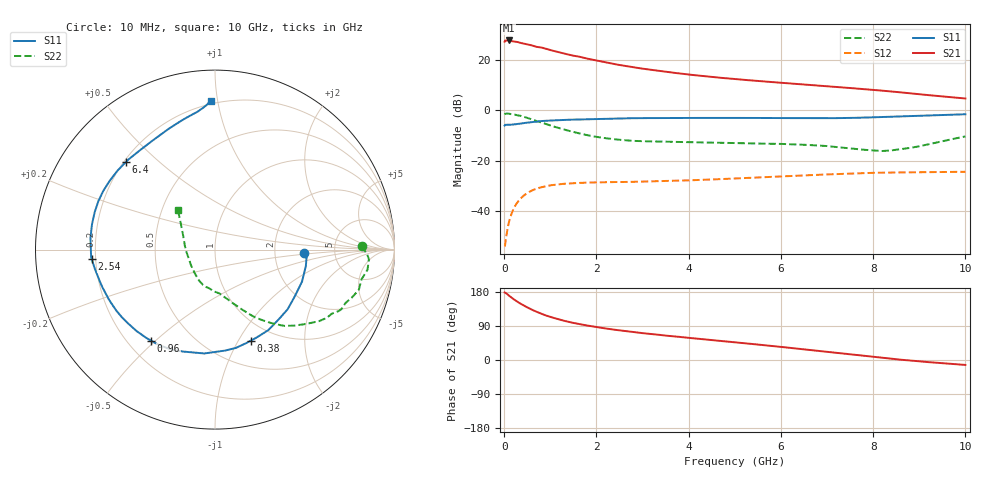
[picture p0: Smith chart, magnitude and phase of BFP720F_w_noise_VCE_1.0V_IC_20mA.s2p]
! Infineon Technologies  Discrete & RF Semiconductors
! BFP720F
! VCE =  1.0 V,  IC =  20 mA
! Common Emitter S-Parameters:  Jan 2016
# GHz  S  MA  R  50
!  f  S11  S21  S12  S22
! GHz  MAG  ANG  MAG  ANG  MAG  ANG  MAG  ANG
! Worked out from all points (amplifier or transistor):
!   233 points, 10 MHz to 10 GHz, reference 50 ohm
!   highest |S21| = 27.7 dB at 100 MHz (marker M1)
!   |S21| within 3 dB of that: start of sweep to 849.5 MHz
!   unconditionally stable (mu >= 1): start of sweep to 79.76 MHz; 3.457 GHz to end of sweep
!   at 200 MHz: K = 0.48, MSG = 33.3 dB, |S12| = -39.3 dB
!   at 1.74 GHz: K = 0.63, MSG = 24.8 dB, |S12| = -28.8 dB
!   at 10 GHz: K = 1.58, MAG = 10.1 dB, |S12| = -24.5 dB
!   lowest NFmin = 0.86 dB at 450 MHz
!   S11 on the Smith chart (normalised r, x): 10 MHz: 2.96, -0.16; 380 MHz: 0.78, -1.13; 960 MHz: 0.29, -0.48; 2.54 GHz: 0.18, -0.04; 6.4 GHz: 0.21, +0.39; 10 GHz: 0.18, +0.96
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0.01  0.4962 -2.4  22.9 178.2  0.002 14.3  0.8168 1.3
0.02  0.5118 -3.5  24.01 177.8  0.0021 37.2  0.8467 -1.6
0.05  0.5143 -10.1  24.2 175.7  0.0033 55.5  0.8591 -3.5
0.1  0.5166 -20.1  24.21 170.4  0.0058 65.0  0.8572 -7.5
0.2  0.5237 -39.3  23.28 160.9  0.0108 66.2  0.8322 -15.5
0.3  0.5378 -56.3  22.43 152.6  0.0153 61.8  0.7861 -22.2
0.38  0.5452 -68.6  21.41 147.0  0.0185 58.0  0.7562 -27.5
0.45  0.56 -78.0  20.85 141.8  0.021 54.8  0.7297 -31.4
0.6  0.5818 -95.9  19.33 132.7  0.0254 48.0  0.653 -39.4
0.7  0.5925 -105.8  18.1 127.3  0.0277 44.2  0.6111 -43.9
0.8  0.6075 -112.9  17.63 122.4  0.0295 41.0  0.5747 -47.7
0.96  0.6196 -125.0  16.04 115.4  0.0317 36.3  0.5122 -52.8
1.3  0.6413 -144.1  13.31 103.5  0.0346 29.2  0.4127 -61.5
1.68  0.6562 -157.9  11.22 93.7  0.0361 24.3  0.3364 -68.8
2  0.6686 -166.4  9.687 86.9  0.0369 21.7  0.2955 -74.1
2.54  0.6892 -175.7  7.782 77.6  0.0376 19.4  0.2569 -81.5
3.4  0.6985 169.5  5.953 65.9  0.0391 18.9  0.2378 -88.6
5.1  0.7022 151.2  4.077 45.5  0.0444 19.4  0.2221 -96.6
6.4  0.6961 135.5  3.296 29.4  0.0504 17.5  0.2081 -108.2
6.8  0.6934 129.5  3.09 24.2  0.0522 16.4  0.1987 -113.9
8.4  0.7428 104.5  2.349 3.2  0.0579 10.1  0.1594 -175.1
10  0.8304 91.6  1.706 -13.0  0.0599 5.4  0.3015 133.3
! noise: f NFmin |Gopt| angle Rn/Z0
0.45  0.86  0.16  0  0.43
0.9  0.89  0.09  -6  0.15
1.8  0.92  0.07  -52  0.15
2.4  0.94  0.08  -58  0.15
5.5  1.06  0.08  -60  0.14
10  1.24  0.38  -81  0.26
